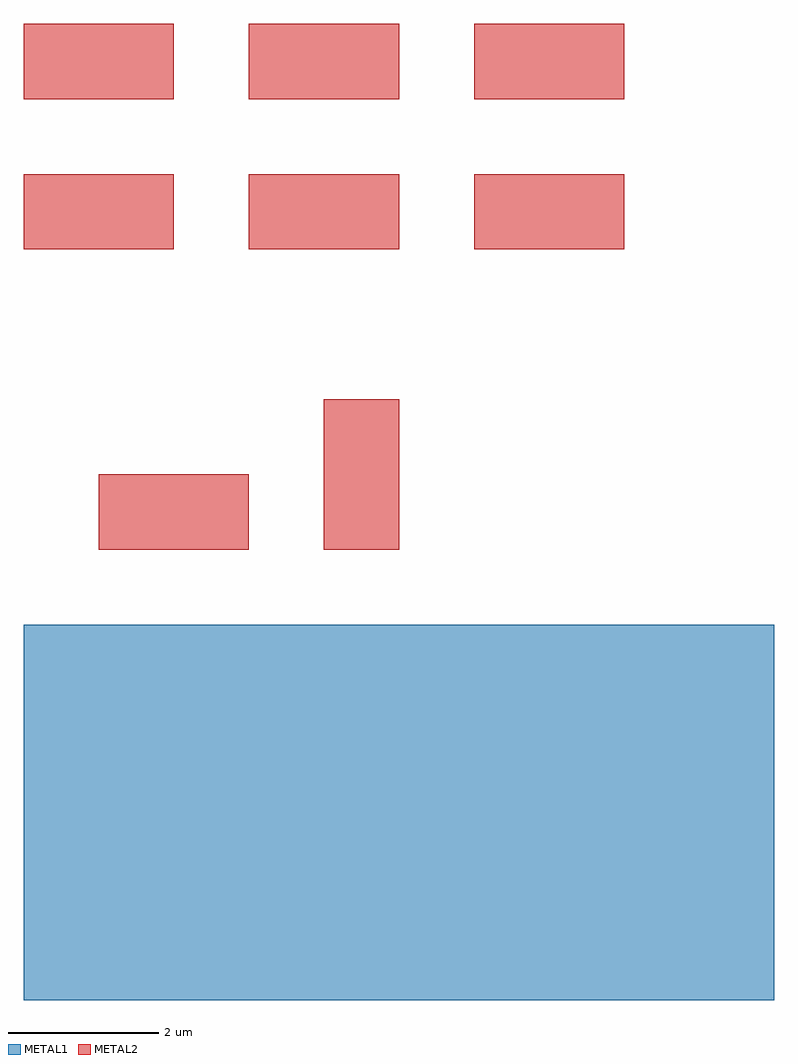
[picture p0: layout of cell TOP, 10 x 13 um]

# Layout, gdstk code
from math import pi, radians
import gdstk
lib = gdstk.Library(unit=1e-6, precision=1e-09)
def R(c, l, rs):  # rectangles x0, y0, x1, y1
    for r in rs: c.add(gdstk.rectangle(r[:2], r[2:], *l))
METAL1 = (1, 0)
METAL2 = (2, 0)

child = lib.new_cell('CHILD')
R(child, METAL2, [(0,0,2,1)])

top = lib.new_cell('TOP')
R(top, METAL1, [(0,0,10,5)])
top.add(gdstk.Reference(child, (1,6)))
top.add(gdstk.Reference(child, (5,6), rotation=pi/2))
r = gdstk.Reference(child, (0,10)); r.repetition = gdstk.Repetition(3, 2, v1=(3,0), v2=(0,2)); top.add(r)

lib.write_gds('TOP.gds')
